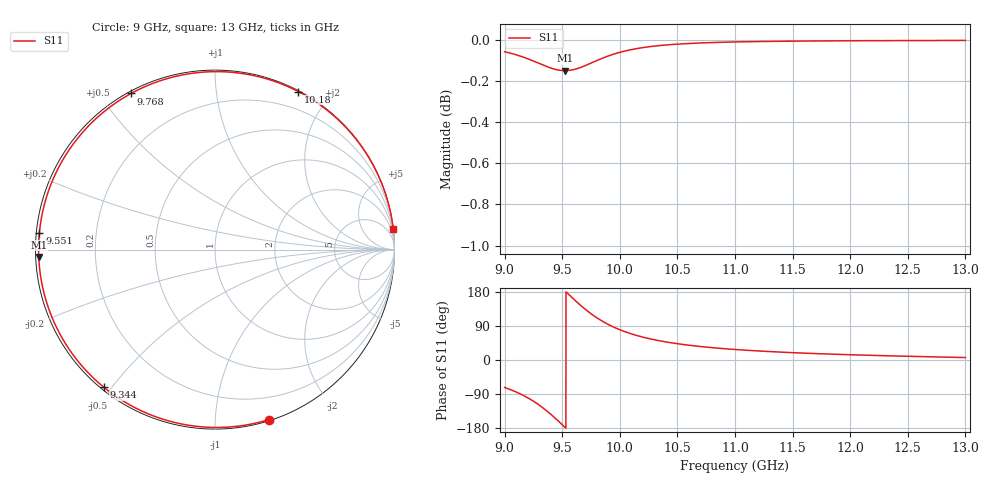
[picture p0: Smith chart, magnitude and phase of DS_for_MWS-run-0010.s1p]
! TOUCHSTONE file generated by CST DESIGN STUDIO
! Date and time: Tue Feb  4 15:55:17 2025
! Project name: C:\Work\MatlabApps\UnitCellOptimizationMatlab\CST\unitcell.cst
! Tree item: Tasks\Sweep1\SPara1\S-Parameters
! Header version: 2024
! Port assignment regex: !\s*Touchstone port\s*([0-9]+)\s*=\s*(CST MWS port|CST DES external port|CST DES block port)\s*(.+)\s* \(\"(.*)\"\)(\s*mode\s*([0-9]+))?.*
! Touchstone port assignment:
! Touchstone port 1 = CST DES external port 1 ("")
# GHz S MA R 50
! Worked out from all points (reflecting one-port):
!   4001 points, 9 GHz to 13 GHz, reference 50 ohm
!   lowest |S11| = -0.1 dB at 9.524 GHz (marker M1), VSWR 116.12, Z = 0.431 - j1.05 ohm
!   phase of S11 starts at -73 deg and turns -281 deg over the sweep
!   S11 on the Smith chart (normalised r, x): 9 GHz: 0.01, -1.36; 9.344 GHz: 0.01, -0.48; 9.551 GHz: 0.01, +0.05; 9.768 GHz: 0.01, +0.60; 10.18 GHz: 0.01, +1.66; 13 GHz: 0, +18
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9  0.9934 -72.5
9.095  0.9918 -83.7
9.202  0.9895 -99.9
9.276  0.9876 -113.9
9.344  0.9857 -128.9
9.387  0.9847 -139.6
9.431  0.9838 -151.2
9.5  0.983 -170.7
9.524  0.9829 -177.6
9.551  0.983 174.6
9.605  0.9836 159.1
9.666  0.9848 142.5
9.717  0.9862 129.8
9.768  0.9876 118.2
9.817  0.989 108.2
9.87  0.9903 98.7
9.93  0.9917 89.2
10  0.9931 79.9
10.085  0.9944 70.5
10.177  0.9955 62.2
10.324  0.9967 51.9
10.5  0.9976 43.0
10.722  0.9983 34.9
11  0.9988 27.7
11.5  0.9993 19.3
12  0.9995 13.8
12.5  0.9996 9.8
13  0.9997 6.5
